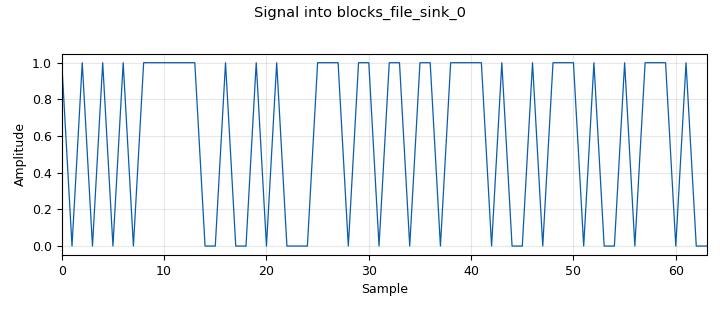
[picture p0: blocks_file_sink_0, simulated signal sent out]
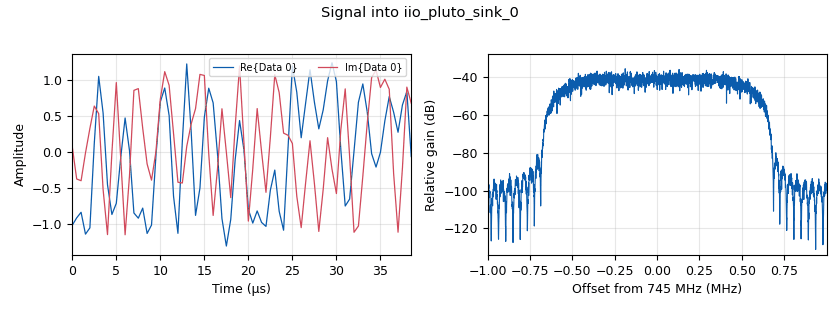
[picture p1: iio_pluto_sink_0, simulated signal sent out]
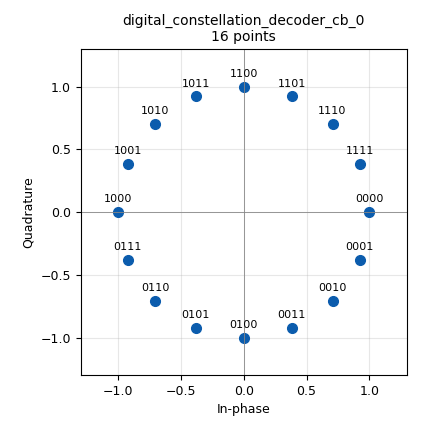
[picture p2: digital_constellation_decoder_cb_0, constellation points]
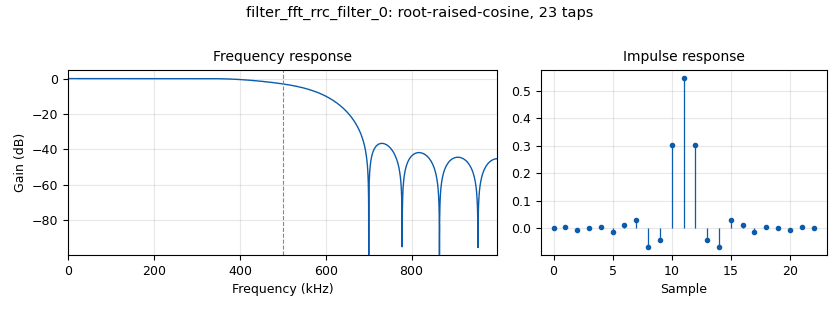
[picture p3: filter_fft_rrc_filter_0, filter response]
options:
  parameters:
    author: cemal
    generate_options: qt_gui
    id: ber_16psk
    output_language: python
    title: BER 16PSK
  states: {}

blocks:
- name: bw_slider
  id: variable_qtgui_range
  parameters:
    comment: 0,9,1,1
    gui_hint: 2,9,1,1
    label: Bandwidth
    rangeType: int
    start: '200000'
    step: '10000000'
    stop: '52000000'
    value: '20000000'
  states: {}
- name: constellation
  id: variable_constellation
  parameters:
    const_points: '[(1.0000+0.0000j),(0.9239-0.3827j),(0.7071-0.7071j),(0.3827-0.9239j),(0.0000-1.0000j),(-0.3827-0.9239j),(-0.7071-0.7071j),(-0.9239-0.3827j),(-1.0000-0.0000j),(-0.9239+0.3827j),(-0.7071+0.7071j),(-0.3827+0.9239j),(-0.0000+1.0000j),(0.3827+0.9239j),(0.7071+0.7071j),(0.9239+0.3827j)]'
    dims: '1'
    normalization: digital.constellation.NO_NORMALIZATION
    npwr: '0'
    precision: '8'
    rot_sym: '16'
    sym_map: '[0,1,2,3,4,5,6,7,8,9,10,11,12,13,14,15]'
    type: calcdist
  states: {}
- name: delay
  id: variable_qtgui_range
  parameters:
    comment: 1,9,1,1
    gui_hint: 1,9,1,1
    label: Delay
    rangeType: int
    start: '0'
    step: '1'
    stop: '100000'
    value: '52'
  states: {}
- name: freq
  id: variable
  parameters:
    value: freq_slider
  states: {}
- name: freq_slider
  id: variable_qtgui_range
  parameters:
    comment: 0,9,1,1
    gui_hint: 0,9,1,1
    label: Frequency
    rangeType: int
    start: '500000000'
    step: '1000000'
    stop: '3200000000'
    value: '745000000'
  states: {}
- name: samp_rate
  id: variable
  parameters:
    value: samp_rate_slider
  states: {}
- name: samp_rate_slider
  id: variable_qtgui_range
  parameters:
    comment: 0,9,1,1
    gui_hint: 4,9,1,1
    label: Sample Rate
    rangeType: int
    start: '100000'
    step: '100000'
    stop: '10000000'
    value: '2000000'
  states: {}
- name: sps
  id: variable
  parameters:
    value: '2'
  states: {}
- name: analog_random_source_x_0
  id: analog_random_source_x
  parameters:
    max: '256'
    min: '0'
    num_samps: '30000'
    repeat: 'True'
    type: byte
  states: {}
- name: blocks_file_sink_0
  id: blocks_file_sink
  parameters:
    file: ./bitstream_tx.txt
    type: byte
  states: {}
- name: blocks_file_sink_0_0
  id: blocks_file_sink
  parameters:
    file: ./bitstream_rx.txt
    type: byte
  states: {}
- name: blocks_message_debug_0
  id: blocks_message_debug
  parameters: {}
  states: {}
- name: blocks_probe_rate_0
  id: blocks_probe_rate
  parameters:
    alpha: '0.15'
    mintime: '500.0'
    type: byte
  states: {}
- name: blocks_unpack_k_bits_bb_0
  id: blocks_unpack_k_bits_bb
  parameters:
    k: '4'
  states: {}
- name: blocks_unpack_k_bits_bb_0_1
  id: blocks_unpack_k_bits_bb
  parameters:
    k: '8'
  states: {}
- name: digital_constellation_decoder_cb_0
  id: digital_constellation_decoder_cb
  parameters:
    constellation: constellation
  states: {}
- name: digital_constellation_modulator_0
  id: digital_constellation_modulator
  parameters:
    constellation: constellation
    differential: 'True'
    excess_bw: '0.35'
    samples_per_symbol: sps
  states: {}
- name: digital_costas_loop_cc_0
  id: digital_costas_loop_cc
  parameters:
    order: '8'
    w: '0.0628'
  states: {}
- name: digital_diff_decoder_bb_0
  id: digital_diff_decoder_bb
  parameters:
    coding: digital.DIFF_DIFFERENTIAL
    modulus: '16'
  states: {}
- name: digital_map_bb_0
  id: digital_map_bb
  parameters:
    comment: Gray coding
    map: '[0,1,2,3,4,5,6,7,8,9,10,11,12,13,14,15]'
  states: {}
- name: digital_symbol_sync_xx_0
  id: digital_symbol_sync_xx
  parameters:
    damping: '1.0'
    loop_bw: '0.045'
    max_dev: '1.5'
    osps: '1'
    resamp_type: digital.IR_MMSE_8TAP
    sps: sps
    ted_gain: '1.0'
    ted_type: digital.TED_SIGNAL_TIMES_SLOPE_ML
    type: cc
  states: {}
- name: filter_fft_rrc_filter_0
  id: filter_fft_rrc_filter
  parameters:
    alpha: '0.35'
    decim: '1'
    gain: '1'
    ntaps: 11*sps
    samp_rate: samp_rate
    sym_rate: samp_rate/sps
    type: ccc
  states: {}
- name: iio_pluto_sink_0
  id: iio_pluto_sink
  parameters:
    attenuation1: '0'
    bandwidth: bw_slider
    buffer_size: '32768'
    cyclic: 'False'
    filter_source: '''Auto'''
    frequency: freq
    samplerate: samp_rate
    type: fc32
    uri: ip:192.168.2.1
  states: {}
- name: iio_pluto_source_0
  id: iio_pluto_source
  parameters:
    bandwidth: bw_slider
    bbdc: 'True'
    buffer_size: '32768'
    filter_source: '''Auto'''
    frequency: freq
    gain1: '''slow_attack'''
    quadrature: 'True'
    rfdc: 'True'
    samplerate: samp_rate
    type: fc32
    uri: ip:192.168.3.1
  states: {}
- name: qtgui_const_sink_x_0
  id: qtgui_const_sink_x
  parameters:
    autoscale: 'True'
    comment: 0,0,1,8
    grid: 'True'
    gui_hint: 0,0,1,8
    label1: Before Costas Loop
    label2: After Costas Loop
    nconnections: '2'
    size: '1024'
    type: complex
  states: {}
- name: qtgui_eye_sink_x_0
  id: qtgui_eye_sink_x
  parameters:
    autoscale: 'True'
    samp_per_symbol: sps
    size: '1024'
    srate: samp_rate
    type: complex
  states: {}
- name: virtual_sink_0
  id: virtual_sink
  parameters:
    stream_id: TX
  states: {}
- name: virtual_sink_0_0_0
  id: virtual_sink
  parameters:
    stream_id: RX
  states: {}
- name: virtual_source_1
  id: virtual_source
  parameters:
    stream_id: RX
  states: {}
- name: virtual_source_2_0
  id: virtual_source
  parameters:
    stream_id: TX
  states: {}

connections:
- [analog_random_source_x_0, '0', digital_constellation_modulator_0, '0']
- [analog_random_source_x_0, '0', virtual_sink_0, '0']
- [blocks_probe_rate_0, rate, blocks_message_debug_0, print]
- [blocks_unpack_k_bits_bb_0, '0', blocks_file_sink_0_0, '0']
- [blocks_unpack_k_bits_bb_0, '0', blocks_probe_rate_0, '0']
- [blocks_unpack_k_bits_bb_0_1, '0', blocks_file_sink_0, '0']
- [digital_constellation_decoder_cb_0, '0', digital_diff_decoder_bb_0, '0']
- [digital_constellation_modulator_0, '0', iio_pluto_sink_0, '0']
- [digital_costas_loop_cc_0, '0', digital_constellation_decoder_cb_0, '0']
- [digital_costas_loop_cc_0, '0', qtgui_const_sink_x_0, '1']
- [digital_costas_loop_cc_0, '0', qtgui_eye_sink_x_0, '0']
- [digital_diff_decoder_bb_0, '0', virtual_sink_0_0_0, '0']
- [digital_map_bb_0, '0', blocks_unpack_k_bits_bb_0, '0']
- [digital_symbol_sync_xx_0, '0', digital_costas_loop_cc_0, '0']
- [digital_symbol_sync_xx_0, '0', qtgui_const_sink_x_0, '0']
- [filter_fft_rrc_filter_0, '0', digital_symbol_sync_xx_0, '0']
- [iio_pluto_source_0, '0', filter_fft_rrc_filter_0, '0']
- [virtual_source_1, '0', digital_map_bb_0, '0']
- [virtual_source_2_0, '0', blocks_unpack_k_bits_bb_0_1, '0']

metadata:
  file_format: 1
  grc_version: 3.10.12.0
